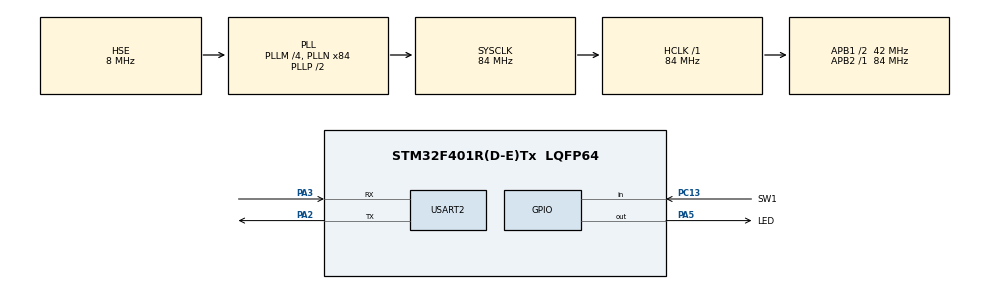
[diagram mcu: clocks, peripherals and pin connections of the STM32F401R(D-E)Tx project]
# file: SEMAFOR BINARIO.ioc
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Mcu.Family=STM32F4
Mcu.Name=STM32F401R(D-E)Tx
Mcu.Package=LQFP64
NVIC.PriorityGroup=NVIC_PRIORITYGROUP_4
NVIC.TIM1_TRG_COM_TIM11_IRQn=true\:15\:0\:false\:false\:true\:false\:true\:true
NVIC.TimeBase=TIM1_TRG_COM_TIM11_IRQn
NVIC.TimeBaseIP=TIM11
NVIC.USART2_IRQn=true\:0\:0\:false\:false\:true\:true\:true\:true
PA2.Mode=Asynchronous
PA2.Signal=USART2_TX
PA3.Mode=Asynchronous
PA3.Signal=USART2_RX
PA5.GPIO_Label=LED
PA5.Signal=GPIO_Output
PC13-ANTI_TAMP.GPIO_Label=SW1
PC13-ANTI_TAMP.Signal=GPIO_Input
PH0\ -\ OSC_IN.Mode=HSE-External-Clock-Source
PH0\ -\ OSC_IN.Signal=RCC_OSC_IN
PH1\ -\ OSC_OUT.Mode=HSE-External-Clock-Source
PH1\ -\ OSC_OUT.Signal=RCC_OSC_OUT
ProjectManager.HeapSize=0x200
ProjectManager.StackSize=0x400
ProjectManager.TargetToolchain=STM32CubeIDE
RCC.48MHZClocksFreq_Value=42000000
RCC.AHBFreq_Value=84000000
RCC.APB1CLKDivider=RCC_HCLK_DIV2
RCC.APB1Freq_Value=42000000
RCC.APB1TimFreq_Value=84000000
RCC.APB2Freq_Value=84000000
RCC.APB2TimFreq_Value=84000000
RCC.CortexFreq_Value=84000000
RCC.HCLKFreq_Value=84000000
RCC.HSE_VALUE=8000000
RCC.HSI_VALUE=16000000
RCC.LSE_VALUE=32768
RCC.PLLM=4
RCC.PLLN=84
RCC.PLLSourceVirtual=RCC_PLLSOURCE_HSE
RCC.SYSCLKFreq_VALUE=84000000
RCC.SYSCLKSource=RCC_SYSCLKSOURCE_PLLCLK
RCC.VCOOutputFreq_Value=168000000
USART2.VirtualMode=VM_ASYNC
VP_SYS_VS_tim11.Mode=TIM11
board=custom

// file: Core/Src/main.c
/* USER CODE BEGIN Header */
/**
  ******************************************************************************
  * @file           : main.c
  * @brief          : Main program body
  ******************************************************************************
  * @attention
  *
  * Copyright (c) 2022 STMicroelectronics.
  * All rights reserved.
  *
  * This software is licensed under terms that can be found in the LICENSE file
  * in the root directory of this software component.
  * If no LICENSE file comes with this software, it is provided AS-IS.
  *
  ******************************************************************************
  */
/* USER CODE END Header */
#include "main.h"
#include "usart.h"
#include "gpio.h"

/* USER CODE BEGIN Includes */
#include "FreeRTOS.h"
#include "task.h"
#include "cmsis_os.h"
#include "semphr.h"

#include <stdio.h>
#include <stdarg.h>
#include <string.h>
/* USER CODE END Includes */

/* USER CODE BEGIN PM */
/**
 * 0 : no se desea usar segger system view
 * 1 : se usa para la depuracion
 */
#define SYSTEM_VIEW				1
/* USER CODE END PM */

/* USER CODE BEGIN PV */
/**
 * crear un manejador
 */
SemaphoreHandle_t xSemaphore;

/* USER CODE END PV */

void SystemClock_Config(void);
/* USER CODE BEGIN PFP */
void taskA(void *params);
void taskB(void *params);
void taskC(void *params);

void UART_Printf(char *format,...);
/* USER CODE END PFP */

int main(void)
{
  /* USER CODE BEGIN 1 */
	BaseType_t status;
  /* USER CODE END 1 */

  /* MCU Configuration--------------------------------------------------------*/

  /* Reset of all peripherals, Initializes the Flash interface and the Systick. */
  HAL_Init();

  /* Configure the system clock */
  SystemClock_Config();

  /* Initialize all configured peripherals */
  MX_GPIO_Init();
  MX_USART2_UART_Init();
  /* USER CODE BEGIN 2 */
#if SYSTEM_VIEW
//  NVIC_SetPriorityGrouping(0);
  DWT->CTRL |= 1;
  SEGGER_SYSVIEW_Conf();
  /*solo se va usar cuando se trabaje en modo one shot*/
//  SEGGER_SYSVIEW_Start();

#endif

  status = xTaskCreate(taskA,
		  	  	  	  "tarea A",
					  configMINIMAL_STACK_SIZE,
					  NULL,
					  3,
					  NULL);
  configASSERT(status == pdPASS);

  status = xTaskCreate(taskB,
		  	  	  	  "tarea B",
					  configMINIMAL_STACK_SIZE,
					  NULL,
					  3,
					  NULL);
  configASSERT(status == pdPASS);

  status = xTaskCreate(taskC,
		  	  	  	  "tarea C",
					  configMINIMAL_STACK_SIZE,
					  NULL,
					  1,
					  NULL);
  configASSERT(status == pdPASS);

  /*Creacion de un semaforo binario*/
  xSemaphore = xSemaphoreCreateBinary();		/*valor de 0 - 1 */
  configASSERT(xSemaphore != NULL);
  // vSemaphoreCreateBinary(xSemaphore);

  /* inicializa el kernel*/
  vTaskStartScheduler();
  /* USER CODE END 2 */

  /* Infinite loop */
  while (1)
  {

  }
}

void SystemClock_Config(void)
{
  RCC_OscInitTypeDef RCC_OscInitStruct = {0};
  RCC_ClkInitTypeDef RCC_ClkInitStruct = {0};

  /** Configure the main internal regulator output voltage
  */
  __HAL_RCC_PWR_CLK_ENABLE();
  __HAL_PWR_VOLTAGESCALING_CONFIG(PWR_REGULATOR_VOLTAGE_SCALE2);

  /** Initializes the RCC Oscillators according to the specified parameters
  * in the RCC_OscInitTypeDef structure.
  */
  RCC_OscInitStruct.OscillatorType = RCC_OSCILLATORTYPE_HSE;
  RCC_OscInitStruct.HSEState = RCC_HSE_BYPASS;
  RCC_OscInitStruct.PLL.PLLState = RCC_PLL_ON;
  RCC_OscInitStruct.PLL.PLLSource = RCC_PLLSOURCE_HSE;
  RCC_OscInitStruct.PLL.PLLM = 4;
  RCC_OscInitStruct.PLL.PLLN = 84;
  RCC_OscInitStruct.PLL.PLLP = RCC_PLLP_DIV2;
  RCC_OscInitStruct.PLL.PLLQ = 4;
  if (HAL_RCC_OscConfig(&RCC_OscInitStruct) != HAL_OK)
  {
    Error_Handler();
  }

  /** Initializes the CPU, AHB and APB buses clocks
  */
  RCC_ClkInitStruct.ClockType = RCC_CLOCKTYPE_HCLK|RCC_CLOCKTYPE_SYSCLK
                              |RCC_CLOCKTYPE_PCLK1|RCC_CLOCKTYPE_PCLK2;
  RCC_ClkInitStruct.SYSCLKSource = RCC_SYSCLKSOURCE_PLLCLK;
  RCC_ClkInitStruct.AHBCLKDivider = RCC_SYSCLK_DIV1;
  RCC_ClkInitStruct.APB1CLKDivider = RCC_HCLK_DIV2;
  RCC_ClkInitStruct.APB2CLKDivider = RCC_HCLK_DIV1;

  if (HAL_RCC_ClockConfig(&RCC_ClkInitStruct, FLASH_LATENCY_2) != HAL_OK)
  {
    Error_Handler();
  }
}

/* USER CODE BEGIN 4 */

void taskA(void *params){
	/*variables locales*/
	uint8_t status;

	while(1){
		/*press button*/
		SEGGER_SYSVIEW_PrintfHost("presione SW1\r\n");
		while(HAL_GPIO_ReadPin(SW1_GPIO_Port, SW1_Pin));

		/*se envia el semaforo*/
		status = xSemaphoreGive(xSemaphore);

		if(status == pdTRUE){							// semaforo se envió correctamente
			SEGGER_SYSVIEW_PrintfHost("semaforo enviado desde la tarea A\r\n");
			HAL_GPIO_TogglePin(LED_GPIO_Port, LED_Pin);	// Toogle led
		}
		else{											// pdFAIL (semaforo no se envió)
			SEGGER_SYSVIEW_PrintfHost("semaforo no se envio\r\n");
		}
		vTaskDelay(50);

	}
}
void taskB(void *params){

	/*variables locales*/
	uint8_t status;

	while(1){
		/* se toma el semaforo*/
		status = xSemaphoreTake(xSemaphore, pdMS_TO_TICKS(1000));
		if(status == pdTRUE){										//Semaforo fue tomado correctamente
			SEGGER_SYSVIEW_PrintfHost("semaforo tomado por la tarea B\r\n");
			vTaskDelay(pdMS_TO_TICKS(2000));
		}
		else{
			/*  */
		}
	}
}
void taskC(void *params){

	/*variable local*/
	uint8_t status;

	while(1){
		/*se toma el semaforo*/
		status = xSemaphoreTake(xSemaphore, pdMS_TO_TICKS(2000));
		if(status == pdTRUE){
			SEGGER_SYSVIEW_PrintfHost("semaforo tomado por la tarea C\r\n");
		}
		else{
			/* si en caso no se toma el semaforo */

		}
	}
}

/***********************************************************************************************/
void UART_Printf(char *format,...){
    char str[80];

    /*Extract the the argument list using VA apis */
    va_list args;
    va_start(args, format);
    vsprintf(str, format,args);
    HAL_UART_Transmit(&huart2, (uint8_t*)str, strlen(str), 10);
    va_end(args);
}
/* USER CODE END 4 */

void HAL_TIM_PeriodElapsedCallback(TIM_HandleTypeDef *htim)
{
  if (htim->Instance == TIM11) {
    HAL_IncTick();
  }
}

void Error_Handler(void)
{
  __disable_irq();
  while (1)
  {
  }
}
